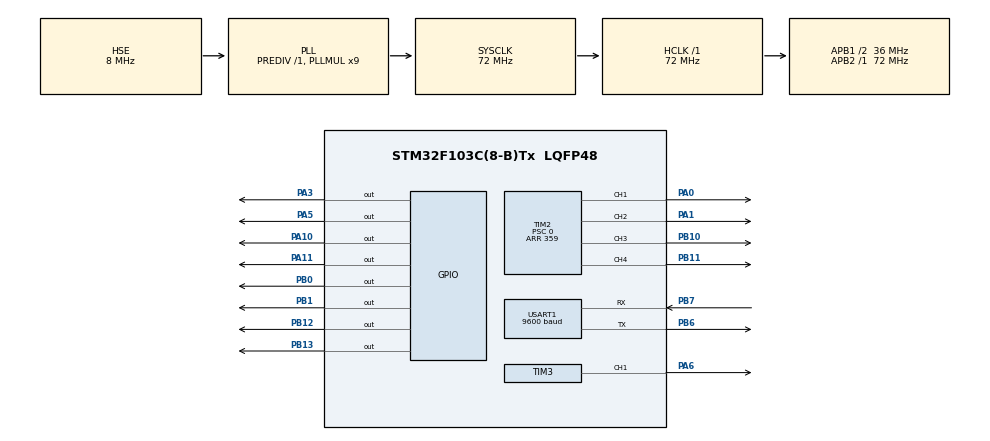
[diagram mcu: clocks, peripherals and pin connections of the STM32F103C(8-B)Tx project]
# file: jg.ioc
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Mcu.Family=STM32F1
Mcu.Name=STM32F103C(8-B)Tx
Mcu.Package=LQFP48
NVIC.PriorityGroup=NVIC_PRIORITYGROUP_4
NVIC.TIM2_IRQn=true\:0\:0\:false\:false\:true\:true\:true
NVIC.USART1_IRQn=true\:0\:0\:false\:false\:true\:true\:true
PA0-WKUP.Signal=S_TIM2_CH1_ETR
PA1.Signal=S_TIM2_CH2
PA10.PinState=GPIO_PIN_RESET
PA10.Signal=GPIO_Output
PA11.PinState=GPIO_PIN_RESET
PA11.Signal=GPIO_Output
PA13.Mode=Serial_Wire
PA13.Signal=SYS_JTMS-SWDIO
PA14.Mode=Serial_Wire
PA14.Signal=SYS_JTCK-SWCLK
PA3.GPIO_Speed=GPIO_SPEED_FREQ_LOW
PA3.Signal=GPIO_Output
PA5.PinState=GPIO_PIN_RESET
PA5.Signal=GPIO_Output
PA6.Signal=S_TIM3_CH1
PB0.PinState=GPIO_PIN_RESET
PB0.Signal=GPIO_Output
PB1.PinState=GPIO_PIN_RESET
PB1.Signal=GPIO_Output
PB10.Signal=S_TIM2_CH3
PB11.Signal=S_TIM2_CH4
PB12.PinState=GPIO_PIN_RESET
PB12.Signal=GPIO_Output
PB13.PinState=GPIO_PIN_RESET
PB13.Signal=GPIO_Output
PB6.GPIO_Speed=GPIO_SPEED_FREQ_HIGH
PB6.Mode=Asynchronous
PB6.Signal=USART1_TX
PB7.GPIO_PuPd=GPIO_NOPULL
PB7.Mode=Asynchronous
PB7.Signal=USART1_RX
PD0-OSC_IN.Mode=HSE-External-Oscillator
PD0-OSC_IN.Signal=RCC_OSC_IN
PD1-OSC_OUT.Mode=HSE-External-Oscillator
PD1-OSC_OUT.Signal=RCC_OSC_OUT
ProjectManager.HeapSize=0x200
ProjectManager.StackSize=0x400
ProjectManager.TargetToolchain=MDK-ARM V5.32
RCC.AHBFreq_Value=72000000
RCC.APB1CLKDivider=RCC_HCLK_DIV2
RCC.APB1Freq_Value=36000000
RCC.APB1TimFreq_Value=72000000
RCC.APB2Freq_Value=72000000
RCC.APB2TimFreq_Value=72000000
RCC.HCLKFreq_Value=72000000
RCC.PLLMUL=RCC_PLL_MUL9
RCC.PLLSourceVirtual=RCC_PLLSOURCE_HSE
RCC.SYSCLKFreq_VALUE=72000000
RCC.SYSCLKSource=RCC_SYSCLKSOURCE_PLLCLK
RCC.USBFreq_Value=72000000
SH.S_TIM2_CH1_ETR.0=TIM2_CH1,PWM Generation1 CH1
SH.S_TIM2_CH2.0=TIM2_CH2,PWM Generation2 CH2
SH.S_TIM2_CH3.0=TIM2_CH3,PWM Generation3 CH3
SH.S_TIM2_CH4.0=TIM2_CH4,PWM Generation4 CH4
SH.S_TIM3_CH1.0=TIM3_CH1,PWM Generation1 CH1
TIM2.Channel-PWM\ Generation1\ CH1=TIM_CHANNEL_1
TIM2.Channel-PWM\ Generation2\ CH2=TIM_CHANNEL_2
TIM2.Channel-PWM\ Generation3\ CH3=TIM_CHANNEL_3
TIM2.Channel-PWM\ Generation4\ CH4=TIM_CHANNEL_4
TIM2.CounterMode=TIM_COUNTERMODE_CENTERALIGNED1
TIM2.Period=359
TIM2.Prescaler=0
TIM3.Channel-PWM\ Generation1\ CH1=TIM_CHANNEL_1
TIM3.Period=19999
TIM3.Prescaler=71
USART1.BaudRate=9600
USART1.VirtualMode=VM_ASYNC
VP_TIM2_VS_ClockSourceINT.Mode=Internal
VP_TIM3_VS_ClockSourceINT.Mode=Internal
board=custom

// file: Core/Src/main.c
/* USER CODE BEGIN Header */
/**
  ******************************************************************************
  * @file           : main.c
  * @brief          : Main program body
  ******************************************************************************
  * @attention
  *
  * <h2><center>&copy; Copyright (c) 2026 STMicroelectronics.
  * All rights reserved.</center></h2>
  *
  * This software component is licensed by ST under BSD 3-Clause license,
  * the "License"; You may not use this file except in compliance with the
  * License. You may obtain a copy of the License at:
  *                        opensource.org/licenses/BSD-3-Clause
  *
  ******************************************************************************
  */
/* USER CODE END Header */
#include "main.h"
#include "tim.h"
#include "usart.h"
#include "gpio.h"

/* USER CODE BEGIN PD */
/* ====== capture slot -> function ======
   These numbers are TIMER CAPTURE SLOTS -- the index into rc_pulse[] --
   NOT the channel numbers printed on the receiver.  The firmware only ever
   sees the pulse width that arrives on a pin, so it does not matter what
   the receiver happens to call that pin; what matters is which pin it is.

     slot 1 = TIM1_CH1 = PA8      slot 2 = TIM1_CH2 = PA9
     slot 3 = TIM4_CH3 = PB8      slot 4 = TIM4_CH4 = PB9                */
#define RC_CH_ROT   1     /* PA8 <- receiver CH1 : right stick L/R = spin   */
#define RC_CH_SERVO 2     /* PA9 <- receiver CH5 : lever           = servo  */
#define RC_CH_FWD   3     /* PB8 <- receiver CH3 : left  stick U/D = fwd/back*/
#define RC_CH_LAT   4     /* PB9 <- receiver CH4 : left  stick L/R = strafe */

#define RC_TIMEOUT_MS 150   /* no pulse for this long -> fail-safe stop */
#define RC_DEADBAND   25    /* center dead band, us */

/* ---- mecanum straight-line trim ----
   Measured on this car:
     driving forward veers ~15 deg LEFT over 2-3 m, and driving backward
     veers right by the same amount -- the right-hand wheels run a little
     faster than the left ones;
     strafing either way picks up a forward component.
   Both are cancelled here, as a percentage of the stick command.
   0 = correction off.  Tune these two numbers against what the car does. */
/* all four wheels reach the SAME top speed, the difference is only in how
   much PWM each needs to break away -- the right side needs more, so at low
   stick the car gets pushed left.  A proportional trim would over-correct at
   full speed, so this is an offset that is full size at low stick and fades
   to nothing at full stick. */
#define MEC_KICK        14  /* % extra for the right wheels at low stick   */
#define MEC_STRAFE_TRIM  8  /* % : pull back while strafing                */

/* left stick: just off centre the command is 50%, then it rises in a straight
   line to 100% at full travel (see Stick_Curve).  On top of that the
   start-up kick gives a 75% burst from standstill.  Spin has its own curve,
   Spin_Curve. */
#define STICK_MIN_MOVE  50  /* % commanded just outside the dead band      */

/* ---- start-up kick ----
   The right-front wheel will not break away from standstill at 50% duty --
   it needs about 75% -- but once it is turning, 50% keeps it going.  So for
   a moment after the car leaves standstill every wheel is driven at 3/2 of
   the commanded speed (50% -> 75%) and then drops back.
   Caveat: this only masks a weak wheel.  If the wheel is really losing
   contact now and then, the kick will not save it. */
#define MOT_KICK_MS     150   /* how long the boost lasts                    */
#define MOT_KICK_NUM      3   /* boost = MOT_KICK_NUM / MOT_KICK_DEN = 1.5x  */
#define MOT_KICK_DEN      2

/* receiver fail-safe output: CH1/2/4 = 1500us, CH3 = 900us.
   900us must NOT be read as "reverse 100%" -> anything under this is
   treated as no signal, so a radio link loss stops the car. */
#define RC_MIN_US     960
#define RC_MAX_US     2100

/* ---- servo ----
   The servo ignores any pulse outside 500..2500us (2650 and 450 both dead),
   so those are the hard hardware ends.  1 deg ~= 9.87us.
   The servo was re-seated in its bracket with the shaft parked at 1500us,
   its own mechanical centre, so "straight ahead" now sits mid-travel and
   there is the same 90 deg of room on each side:
     stick fully DOWN -> 1500 + 888 = 2388us = 90 deg right
     stick CENTRE     -> 1500us             = straight ahead
     stick fully UP   -> 1500 - 888 =  612us = 90 deg left
   Both ends stay well inside 500..2500, nothing clips.                  */
/* straight ahead, measured on the car (already includes the trim needed to
   bring the arm square -- 1500us put it 5 deg right, so it is 1400us now).
   Both ends are pushed as far as the servo's 500..2500us limit allows, with
   a 20us margin so it never sits on the edge:
     left  (stick up)   -> 520us  =  880us of travel
     right (stick down) -> 2480us = 1080us of travel
   The stick is asymmetric only because "straight" is not exactly mid-travel;
   each side uses every microsecond the hardware will take.                */
#define SERVO_US_ZERO  1400     /* stick centred -> straight ahead        */
#define SERVO_US_MIN    572     /* stick fully up -> 80.5 deg left        */
/* right side measured: 2480us gave 105 deg, i.e. 10.29us per degree.
   the arm needs 80 deg, so stop at 1400 + 80*10.29 = 2223us.            */
#define SERVO_US_MAX   2223     /* stick fully down -> 80 deg right       */

/* output trim, us: + turns right, - turns left (already folded into
   SERVO_US_ZERO above; kept here for future fine adjustment) */
#define SERVO_TRIM_US        0

/* ---- installation mode ----
   Set to 1 to hold the servo shaft at 1500us, the servo's own mechanical
   centre, and ignore the stick.  Use it while re-seating the servo in its
   bracket: with the shaft parked exactly mid-travel the arm can be aligned
   to "straight ahead", which then leaves the same 90 deg of travel on each
   side.  Set back to 0 when the alignment is done.                        */
#define SERVO_INSTALL_MODE   0

/* wide dead zone right at the stick centre.  Once the stick is away from
   centre the arm is rock steady, but sitting at the middle it hunts: the
   transmitter's pulse wobbles enough to keep crossing the boundary.  The
   zone is deliberately generous -- 100us is 20% of the stick, which is still
   far more than the tiny nudge needed to start a turn.  The mapping
   below shrinks the usable stick travel to (500 - SERVO_CENTRE_DEAD) so
   leaving the zone starts the arm exactly at "straight ahead" instead of
   jumping, and the full mechanical range is still reached.               */
#define SERVO_CENTRE_DEAD   100

/* smaller than this and the servo cannot resolve it anyway -- treating it
   as "no change" keeps stick noise from chattering the output (jitter) */
#define SERVO_DEAD_US       20

/* ---- slew limit ----
   How fast the command handed to the servo may move, in us per second.
   The arm's full travel is 572..2223 us, i.e. 1651 us end to end; at 2000
   us/s that takes about 0.83 s, and one side alone (828 us) about 0.41 s.
   Without this limit a flick of the lever asks the servo to jump 828 us in
   a single frame: it slams to the new position, overshoots, and then hunts
   while drawing a current spike that drags the 5 V rail down.  Sweeping
   instead keeps the position error small the whole way, so it arrives
   quietly.  Raise this if steering feels sluggish, lower it if it still
   twitches on arrival.                                                 */
#define SERVO_SLEW_US_PER_S   2000

/* ceiling on a single update step, so a long stall of the main loop (or the
   first pass after power-up) cannot jump the command in one frame */
#define SERVO_SLEW_MAX_STEP     60

#define IABS(x)       ((x) < 0 ? -(x) : (x))
/* USER CODE END PD */

/* USER CODE BEGIN PV */
/* ---------- RC receiver ---------- */
TIM_HandleTypeDef htim1;                /* PA8 = TIM1_CH1, PA9 = TIM1_CH2 */
TIM_HandleTypeDef htim4;                /* PB8 = TIM4_CH3, PB9 = TIM4_CH4 */

volatile uint16_t rc_pulse[5]  = {0, 1500, 1500, 1500, 1500};  /* 1..4 pulse width (us) */
volatile uint8_t  rc_risen[5]  = {0, 0, 0, 0, 0};
volatile uint32_t rc_rise[5]   = {0, 0, 0, 0, 0};
volatile uint32_t rc_last_tick = 0;

uint8_t RXDATA[1];                      /* bluetooth, reserved */
/* USER CODE END PV */

void SystemClock_Config(void);

/* USER CODE BEGIN 0 */
/* ======================= RC PWM input ======================= */

/* motor table: [0]LF [1]RF [2]RR [3]LR
   fwd pin / rev pin follow the existing wiring (same as old state 1..10) */
typedef struct
{
  uint32_t      ch;
  GPIO_TypeDef *p_fwd;
  uint16_t      pin_fwd;
  GPIO_TypeDef *p_rev;
  uint16_t      pin_rev;
} Motor_t;

static const Motor_t MOT[4] =
{
  { TIM_CHANNEL_1, GPIOA, GPIO_PIN_3,  GPIOA, GPIO_PIN_5  },  /* LF */
  { TIM_CHANNEL_2, GPIOB, GPIO_PIN_1,  GPIOB, GPIO_PIN_0  },  /* RF */
  { TIM_CHANNEL_3, GPIOB, GPIO_PIN_13, GPIOB, GPIO_PIN_12 },  /* RR */
  { TIM_CHANNEL_4, GPIOA, GPIO_PIN_10, GPIOA, GPIO_PIN_11 },  /* LR */
};

/* one wheel output, spd = -100..+100 */
static void Motor_Set(uint8_t i, int32_t spd)
{
  if (spd >  100) spd =  100;
  if (spd < -100) spd = -100;

  if (spd > 0)
  {
    HAL_GPIO_WritePin(MOT[i].p_fwd, MOT[i].pin_fwd, GPIO_PIN_SET);
    HAL_GPIO_WritePin(MOT[i].p_rev, MOT[i].pin_rev, GPIO_PIN_RESET);
  }
  else if (spd < 0)
  {
    HAL_GPIO_WritePin(MOT[i].p_fwd, MOT[i].pin_fwd, GPIO_PIN_RESET);
    HAL_GPIO_WritePin(MOT[i].p_rev, MOT[i].pin_rev, GPIO_PIN_SET);
    spd = -spd;
  }
  else
  {
    HAL_GPIO_WritePin(MOT[i].p_fwd, MOT[i].pin_fwd, GPIO_PIN_RESET);
    HAL_GPIO_WritePin(MOT[i].p_rev, MOT[i].pin_rev, GPIO_PIN_RESET);
  }

  __HAL_TIM_SetCompare(&htim2, MOT[i].ch, (uint32_t)spd);
}

/* one channel -> -100..+100 */
static int32_t RC_Axis(uint8_t ch)
{
  int32_t p = (int32_t)rc_pulse[ch];
  int32_t v;

  if (p < RC_MIN_US || p > RC_MAX_US) return 0;   /* 900us fail-safe / glitch -> stop */

  v = p - 1500;
  if (v >  500) v =  500;
  if (v < -500) v = -500;

  if (v > -(int32_t)RC_DEADBAND && v < (int32_t)RC_DEADBAND) return 0;

  return v * 100 / 500;
}

/* stick command -> wheel command curve, used on all three driving channels.
   The car cannot hold a straight line at very low speed -- the four motors
   break away at different duty cycles, so it wanders.  Therefore the moment
   the stick leaves the centre dead band the command already jumps to 50%,
   then ramps linearly from 50% up to 100% at full travel.  A stick inside
   the dead band is still 0, so the car stops when released. */
static int32_t Stick_Curve(int32_t v)
{
  int32_t d = IABS(v);
  int32_t q;

  if (d == 0) q = 0;                       /* stick centred -> stop       */
  else        q = STICK_MIN_MOVE + d * (100 - STICK_MIN_MOVE) / 100;

  return (v < 0) ? -q : q;
}

/* spin curve, requested separately:
     0 .. 75% of the stick  -> 20% .. 50%  (never slower than 20%, or the
                               wheels would not keep turning)
     75 .. 100% of the stick -> 50% .. 100%
   A stick inside the centre dead band is still 0, so the car stops. */
static int32_t Spin_Curve(int32_t v)
{
  int32_t d = IABS(v);
  int32_t q;

  if (d == 0)       q = 0;
  else if (d <= 75) q = 20 + d * 30 / 75;
  else              q = 50 + (d - 75) * 50 / 25;

  return (v < 0) ? -q : q;
}

/* init TIM1 / TIM4 as 1us input capture */
static void RC_Init(void)
{
  TIM_IC_InitTypeDef ic = {0};

  ic.ICPolarity  = TIM_INPUTCHANNELPOLARITY_RISING;
  ic.ICSelection = TIM_ICSELECTION_DIRECTTI;
  ic.ICPrescaler = TIM_ICPSC_DIV1;
  ic.ICFilter    = 3;                     /* fCK_INT, N=8 */

  /* TIM1: PA8 / PA9 */
  htim1.Instance               = TIM1;
  htim1.Init.Prescaler         = 71;      /* 72MHz/72 = 1MHz -> 1 count = 1us */
  htim1.Init.CounterMode       = TIM_COUNTERMODE_UP;
  htim1.Init.Period            = 0xFFFF;
  htim1.Init.ClockDivision     = TIM_CLOCKDIVISION_DIV1;
  htim1.Init.RepetitionCounter = 0;
  htim1.Init.AutoReloadPreload = TIM_AUTORELOAD_PRELOAD_DISABLE;
  HAL_TIM_IC_Init(&htim1);
  HAL_TIM_IC_ConfigChannel(&htim1, &ic, TIM_CHANNEL_1);
  HAL_TIM_IC_ConfigChannel(&htim1, &ic, TIM_CHANNEL_2);
  HAL_TIM_IC_Start_IT(&htim1, TIM_CHANNEL_1);
  HAL_TIM_IC_Start_IT(&htim1, TIM_CHANNEL_2);

  /* TIM4: PB8 / PB9 */
  htim4.Instance               = TIM4;
  htim4.Init.Prescaler         = 71;
  htim4.Init.CounterMode       = TIM_COUNTERMODE_UP;
  htim4.Init.Period            = 0xFFFF;
  htim4.Init.ClockDivision     = TIM_CLOCKDIVISION_DIV1;
  htim4.Init.AutoReloadPreload = TIM_AUTORELOAD_PRELOAD_DISABLE;
  HAL_TIM_IC_Init(&htim4);
  HAL_TIM_IC_ConfigChannel(&htim4, &ic, TIM_CHANNEL_3);
  HAL_TIM_IC_ConfigChannel(&htim4, &ic, TIM_CHANNEL_4);
  HAL_TIM_IC_Start_IT(&htim4, TIM_CHANNEL_3);
  HAL_TIM_IC_Start_IT(&htim4, TIM_CHANNEL_4);

  rc_last_tick = HAL_GetTick();
}

/* read sticks -> mecanum mixing -> outputs */
static void RC_Control(void)
{
  int32_t vx, vy, wz;
  int32_t lf, rf, rr, lr, mx, yawfix;
  int32_t p, d, us;
  /* -1 = nothing known yet, so the first pass always takes the target as it
     stands.  Starting these at the centre value instead would make the dead
     band swallow the very first update and the servo would get no pulse. */
  static int32_t  servo_wr   = -1; /* last value actually written to CCR    */
  static int32_t  servo_tgt  = -1; /* noise-filtered target we aim for      */
  static int32_t  servo_cur  = -1; /* command after the slew limit          */
  static uint32_t servo_tick = 0;  /* tick of the previous slew update      */
  static uint32_t kick_until = 0;  /* start-up boost runs until this tick   */
  static uint8_t  kick_idle  = 1;  /* the sticks were all centred last pass */

  /* ---- servo ----  (input comes from receiver CH5, the lever)
     lever at 1000us -> 2223us = 80 deg right
     lever at 1500us -> 1400us = straight ahead
     lever at 2000us ->  572us = 80.5 deg left                     */
#if SERVO_INSTALL_MODE
  /* shaft parked on the servo's mechanical centre; the stick is ignored */
  p = (int32_t)rc_pulse[RC_CH_SERVO];
  (void)p;
  us = 1500;
#else
  p = (int32_t)rc_pulse[RC_CH_SERVO];
  if (p < 800 || p > 2200) p = 1500;      /* no signal -> straight ahead */
  if (p < 1000) p = 1000;
  if (p > 2000) p = 2000;

  /* hold the arm perfectly still while the stick sits near the middle --
     this is the only place it hunts.  d is the stick offset from centre
     with the dead zone cut out of it, so d == 0 in the middle and the arm
     leaves the middle from "straight ahead" rather than snapping to it. */
  d = p - 1500;
  if (IABS(d) < SERVO_CENTRE_DEAD) d = 0;
  else if (d > 0)                  d -= SERVO_CENTRE_DEAD;
  else                             d += SERVO_CENTRE_DEAD;

  /* each half of the stick drives its side all the way to the servo's
     limit, so the arm gets every degree the hardware can give */
  if (d < 0)
    us = SERVO_US_ZERO - d * (SERVO_US_MAX - SERVO_US_ZERO) / (500 - SERVO_CENTRE_DEAD);
  else
    us = SERVO_US_ZERO - d * (SERVO_US_ZERO - SERVO_US_MIN) / (500 - SERVO_CENTRE_DEAD);

  us += SERVO_TRIM_US;
  if (us < SERVO_US_MIN) us = SERVO_US_MIN;
  if (us > SERVO_US_MAX) us = SERVO_US_MAX;
#endif

  /* jitter control, three stages:
       1. lever noise -- a new target closer than SERVO_DEAD_US to the one
          in use is dropped; the servo cannot resolve it anyway;
       2. slew limit  -- the command walks towards the target instead of
          jumping to it, so a flick of the lever becomes a sweep;
       3. write CCR only when the value really changes.  Combined with the
          CCR preload set up in main(), every pulse stays clean and a
          full-width one. */
  if (servo_tgt < 0 || IABS(us - servo_tgt) >= SERVO_DEAD_US) servo_tgt = us;

  {
    uint32_t now = HAL_GetTick();
    uint32_t dt  = now - servo_tick;

    servo_tick = now;

    if (servo_cur < 0)
    {
      servo_cur = servo_tgt;            /* first pass: no sweep, just go     */
    }
    else if (dt)
    {
      int32_t step = (int32_t)((uint32_t)dt * SERVO_SLEW_US_PER_S / 1000U);

      if (step > SERVO_SLEW_MAX_STEP) step = SERVO_SLEW_MAX_STEP;

      if      (servo_cur < servo_tgt) { servo_cur += step; if (servo_cur > servo_tgt) servo_cur = servo_tgt; }
      else if (servo_cur > servo_tgt) { servo_cur -= step; if (servo_cur < servo_tgt) servo_cur = servo_tgt; }
    }
  }

  if (servo_cur != servo_wr)
  {
    servo_wr = servo_cur;
    __HAL_TIM_SetCompare(&htim3, TIM_CHANNEL_1, (uint32_t)servo_cur);
  }

  /* ---- fail-safe ---- */
  if ((HAL_GetTick() - rc_last_tick) > RC_TIMEOUT_MS)
  {
    Motor_Set(0, 0);
    Motor_Set(1, 0);
    Motor_Set(2, 0);
    Motor_Set(3, 0);
    return;
  }

  vx = RC_Axis(RC_CH_FWD);                /* forward / backward */
  vy = RC_Axis(RC_CH_LAT);                /* strafe            */
  wz = RC_Axis(RC_CH_ROT);                /* spin in place     */

  /* same curve on all three driving channels (see Stick_Curve): below 75%
     of the stick the command is a flat 50%, so the car never creeps along in
     the slow band where the four wheels disagree and it wanders. */
  vx = Stick_Curve(vx);
  vy = Stick_Curve(vy);
  wz = Spin_Curve(wz);

  /* start-up kick (see MOT_KICK_MS): a fresh command after standstill gets
     a short burst, so the wheels that need more torque can break away */
  if (vx == 0 && vy == 0 && wz == 0)
  {
    kick_until = 0;
    kick_idle  = 1;
  }
  else if (kick_idle)
  {
    kick_idle  = 0;
    kick_until = HAL_GetTick() + MOT_KICK_MS;
  }

  /* straight-line correction (see MEC_YAW_TRIM / MEC_STRAFE_TRIM):
     - bending: give the left wheels a bit more and the right wheels a bit
       less, proportional to how hard the forward stick is pushed.  It flips
       automatically in reverse, which is what we want.
     - strafing: pull back by a fixed share of the strafe command. */
  /* measured with a very slow stick push, the wheels start in this order:
       front-left, rear-right, rear-left, front-right last
     so the LEFT side breaks away first and the car is pushed left.  Give
     the right wheels a kick that fades out as the stick goes in. */
  if (vx > 0)
    yawfix = -(MEC_KICK * (100 - vx) / 100);
  else if (vx < 0)
    yawfix =  (MEC_KICK * (100 + vx) / 100);
  else
    yawfix =  0;

  vx -= IABS(vy) * MEC_STRAFE_TRIM / 100;

  /* mecanum inverse kinematics (+ = wheel spins forward) */
  lf = vx + vy + wz + yawfix;
  rf = vx - vy - wz - yawfix;
  rr = vx - vy + wz - yawfix;
  lr = vx + vy - wz + yawfix;

  /* scale down so the largest never exceeds 100 */
  mx = IABS(lf);
  if (IABS(rf) > mx) mx = IABS(rf);
  if (IABS(rr) > mx) mx = IABS(rr);
  if (IABS(lr) > mx) mx = IABS(lr);
  if (mx > 100)
  {
    lf = lf * 100 / mx;
    rf = rf * 100 / mx;
    rr = rr * 100 / mx;
    lr = lr * 100 / mx;
  }

  /* start-up boost, applied last so it is not cancelled by the scaling */
  if (HAL_GetTick() < kick_until)
  {
    lf = lf * MOT_KICK_NUM / MOT_KICK_DEN;
    rf = rf * MOT_KICK_NUM / MOT_KICK_DEN;
    rr = rr * MOT_KICK_NUM / MOT_KICK_DEN;
    lr = lr * MOT_KICK_NUM / MOT_KICK_DEN;
  }

  Motor_Set(0, lf);
  Motor_Set(1, rf);
  Motor_Set(2, rr);
  Motor_Set(3, lr);
}
/* USER CODE END 0 */

int main(void)
{

  /* MCU Configuration--------------------------------------------------------*/

  /* Reset of all peripherals, Initializes the Flash interface and the Systick. */
  HAL_Init();

  /* Configure the system clock */
  SystemClock_Config();

  /* Initialize all configured peripherals */
  MX_GPIO_Init();
  MX_TIM2_Init();
  MX_USART1_UART_Init();
  MX_TIM3_Init();
  /* USER CODE BEGIN 2 */

  HAL_TIM_PWM_Start(&htim2, TIM_CHANNEL_1);
  HAL_TIM_PWM_Start(&htim2, TIM_CHANNEL_2);
  HAL_TIM_PWM_Start(&htim2, TIM_CHANNEL_3);
  HAL_TIM_PWM_Start(&htim2, TIM_CHANNEL_4);
  HAL_TIM_PWM_Start(&htim3, TIM_CHANNEL_1);

  /* servo pulse: enable CCR preload, so a new width written at any moment
     is latched at the start of the next 20ms frame instead of chopping the
     pulse that is currently high.  A chopped pulse is exactly what makes
     the servo twitch while the stick is moving. */
  htim3.Instance->CCMR1 |= TIM_CCMR1_OC1PE;
  htim3.Instance->EGR   |= TIM_EGR_UG;      /* load the value set above */

  HAL_UART_Receive_IT(&huart1, RXDATA, 1);

  RC_Init();          /* start TIM1/TIM4 input capture */
  RC_Control();       /* motors stopped, servo centered */

/* USER CODE END 2 */

  /* Infinite loop */
  while (1)
  {

    /* USER CODE BEGIN 3 */

    RC_Control();
    HAL_Delay(5);

    /* USER CODE END 3 */
  }
}

void SystemClock_Config(void)
{
  RCC_OscInitTypeDef RCC_OscInitStruct = {0};
  RCC_ClkInitTypeDef RCC_ClkInitStruct = {0};

  /** Initializes the RCC Oscillators according to the specified parameters
  * in the RCC_OscInitTypeDef structure.
  */
  RCC_OscInitStruct.OscillatorType = RCC_OSCILLATORTYPE_HSE;
  RCC_OscInitStruct.HSEState = RCC_HSE_ON;
  RCC_OscInitStruct.HSEPredivValue = RCC_HSE_PREDIV_DIV1;
  RCC_OscInitStruct.HSIState = RCC_HSI_ON;
  RCC_OscInitStruct.PLL.PLLState = RCC_PLL_ON;
  RCC_OscInitStruct.PLL.PLLSource = RCC_PLLSOURCE_HSE;
  RCC_OscInitStruct.PLL.PLLMUL = RCC_PLL_MUL9;
  if (HAL_RCC_OscConfig(&RCC_OscInitStruct) != HAL_OK)
  {
    Error_Handler();
  }
  /** Initializes the CPU, AHB and APB buses clocks
  */
  RCC_ClkInitStruct.ClockType = RCC_CLOCKTYPE_HCLK|RCC_CLOCKTYPE_SYSCLK
                              |RCC_CLOCKTYPE_PCLK1|RCC_CLOCKTYPE_PCLK2;
  RCC_ClkInitStruct.SYSCLKSource = RCC_SYSCLKSOURCE_PLLCLK;
  RCC_ClkInitStruct.AHBCLKDivider = RCC_SYSCLK_DIV1;
  RCC_ClkInitStruct.APB1CLKDivider = RCC_HCLK_DIV2;
  RCC_ClkInitStruct.APB2CLKDivider = RCC_HCLK_DIV1;

  if (HAL_RCC_ClockConfig(&RCC_ClkInitStruct, FLASH_LATENCY_2) != HAL_OK)
  {
    Error_Handler();
  }
}

/* USER CODE BEGIN 4 */

/* ============ RC input capture callback ============ */
void HAL_TIM_IC_CaptureCallback(TIM_HandleTypeDef *htim)
{
  uint32_t ch;          /* 1..4  : index for our arrays          */
  uint32_t chan;        /* TIM_CHANNEL_x : HAL register selector */
  uint32_t val;
  uint32_t w;

  /* htim->Channel uses HAL_TIM_ACTIVE_CHANNEL_x (1,2,4,8),
     while HAL_TIM_ReadCapturedValue / SET_CAPTUREPOLARITY use
     TIM_CHANNEL_x (0,4,8,12). They are NOT the same numbering. */
  switch (htim->Channel)
  {
    case HAL_TIM_ACTIVE_CHANNEL_1: ch = 1; break;
    case HAL_TIM_ACTIVE_CHANNEL_2: ch = 2; break;
    case HAL_TIM_ACTIVE_CHANNEL_3: ch = 3; break;
    case HAL_TIM_ACTIVE_CHANNEL_4: ch = 4; break;
    default: return;
  }
  chan = (ch - 1U) * 4U;                               /* 1->0, 2->4, 3->8, 4->12 */

  val = HAL_TIM_ReadCapturedValue(htim, chan);

  if (rc_risen[ch] == 0)
  {
    rc_rise[ch]  = val;                                /* rising edge seen  */
    rc_risen[ch] = 1;
    __HAL_TIM_SET_CAPTUREPOLARITY(htim, chan, TIM_INPUTCHANNELPOLARITY_FALLING);
  }
  else
  {
    rc_risen[ch] = 0;                                  /* falling edge -> width */
    __HAL_TIM_SET_CAPTUREPOLARITY(htim, chan, TIM_INPUTCHANNELPOLARITY_RISING);

    w = (val - rc_rise[ch]) & 0xFFFFU;                 /* 16-bit wrap-safe  */
    if (w > 700U && w < 2500U)                         /* glitch filter     */
    {
      rc_pulse[ch] = (uint16_t)w;
      rc_last_tick = HAL_GetTick();
    }
  }
}

/* ============ TIM1 / TIM4 low level init ============ */
void HAL_TIM_IC_MspInit(TIM_HandleTypeDef *htim)
{
  GPIO_InitTypeDef g = {0};

  if (htim->Instance == TIM1)
  {
    __HAL_RCC_TIM1_CLK_ENABLE();
    __HAL_RCC_GPIOA_CLK_ENABLE();

    g.Pin  = GPIO_PIN_8 | GPIO_PIN_9;
    g.Mode = GPIO_MODE_INPUT;
    g.Pull = GPIO_PULLDOWN;
    HAL_GPIO_Init(GPIOA, &g);

    HAL_NVIC_SetPriority(TIM1_CC_IRQn, 1, 0);
    HAL_NVIC_EnableIRQ(TIM1_CC_IRQn);
  }
  else if (htim->Instance == TIM4)
  {
    __HAL_RCC_TIM4_CLK_ENABLE();
    __HAL_RCC_GPIOB_CLK_ENABLE();

    g.Pin  = GPIO_PIN_8 | GPIO_PIN_9;
    g.Mode = GPIO_MODE_INPUT;
    g.Pull = GPIO_PULLDOWN;
    HAL_GPIO_Init(GPIOB, &g);

    HAL_NVIC_SetPriority(TIM4_IRQn, 1, 0);
    HAL_NVIC_EnableIRQ(TIM4_IRQn);
  }
}

/* ============ bluetooth (reserved, keep RX armed) ============ */
void HAL_UART_RxCpltCallback(UART_HandleTypeDef *huart)
{
  if (huart == &huart1)
  {
    RXDATA[0] = 0;
    HAL_UART_Receive_IT(&huart1, RXDATA, 1);
  }
}
/* USER CODE END 4 */

void Error_Handler(void)
{
  __disable_irq();
  while (1)
  {
  }
}

/************************ (C) COPYRIGHT STMicroelectronics *****END OF FILE****/
